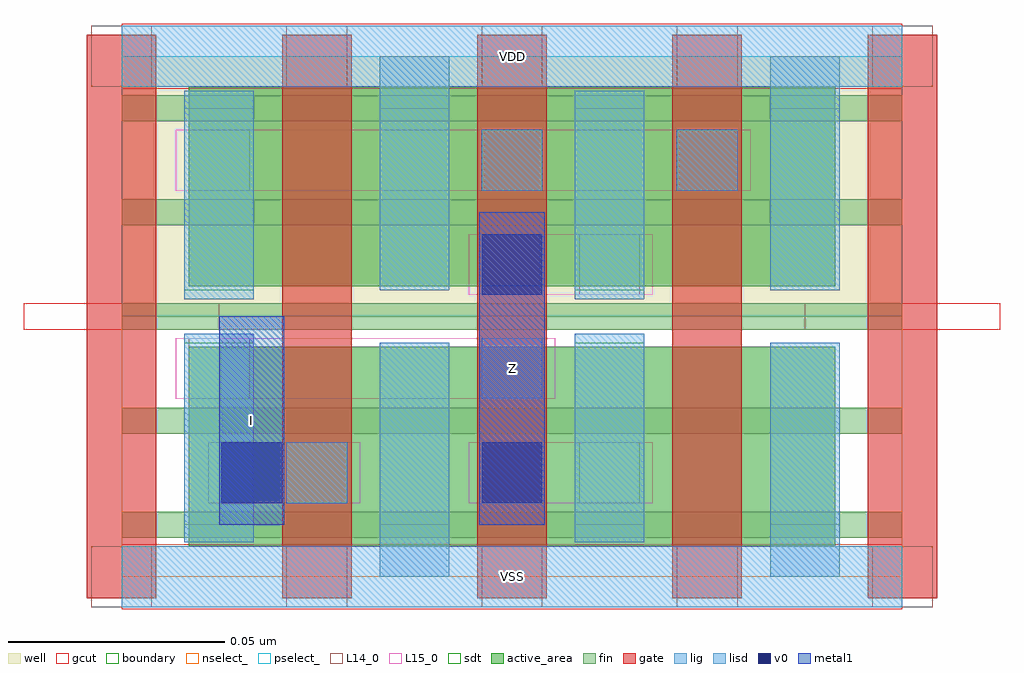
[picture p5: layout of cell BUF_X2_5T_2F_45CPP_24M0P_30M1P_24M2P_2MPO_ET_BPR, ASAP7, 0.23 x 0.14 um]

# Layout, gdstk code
import gdstk
lib = gdstk.Library(unit=1e-6, precision=2.5e-10)
def R(c, l, rs):  # rectangles x0, y0, x1, y1
    for r in rs: c.add(gdstk.rectangle(r[:2], r[2:], *l))
def A(c, l, x, y, w, h, nx, ny, dx, dy):  # array of equal rectangles
    R(c, l, [(x+i*dx, y+j*dy, x+i*dx+w, y+j*dy+h) for i in range(nx) for j in range(ny)])
well = (1, 0)
fin = (2, 0)
gate = (7, 0)
gcut = (10, 0)
active_area = (11, 0)
nselect_ = (12, 0)
pselect_ = (13, 0)
L14_0 = (14, 0)
L15_0 = (15, 0)
lig = (16, 0)
lisd = (17, 0)
v0 = (18, 0)
metal1 = (19, 0)
sdt = (88, 0)
boundary = (100, 0)

buf_x2_5t_2f_45cpp_24m0p = lib.new_cell('BUF_X2_5T_2F_45CPP_24M0P_30M1P_24M2P_2MPO_ET_BPR')
R(buf_x2_5t_2f_45cpp_24m0p, well, [(0,0.06,0.18,0.12)])
A(buf_x2_5t_2f_45cpp_24m0p, fin, 0, 0.009, 0.18, 0.006, 1, 5, 0, 0.024)
A(buf_x2_5t_2f_45cpp_24m0p, gate, -0.008, -0.005, 0.016, 0.13, 5, 1, 0.045, 0)
R(buf_x2_5t_2f_45cpp_24m0p, gcut, [(0,-0.0075,0.18,0.0075), (-0.0225,0.057,0.0225,0.063), (0.1575,0.057,0.2025,0.063), (0,0.1125,0.18,0.1275)])
R(buf_x2_5t_2f_45cpp_24m0p, active_area, [(0.0155,0.007,0.0745,0.053), (0.0605,0.007,0.1645,0.053), (0.0155,0.067,0.0745,0.113), (0.0605,0.067,0.1645,0.113)])
R(buf_x2_5t_2f_45cpp_24m0p, nselect_, [(0,0,0.18,0.06)])
R(buf_x2_5t_2f_45cpp_24m0p, pselect_, [(0,0.06,0.18,0.12)])
A(buf_x2_5t_2f_45cpp_24m0p, L14_0, -0.007, -0.007, 0.014, 0.014, 5, 2, 0.045, 0.12)
R(buf_x2_5t_2f_45cpp_24m0p, L14_0, [(0.038,0.017,0.052,0.031), (0.1055,0.017,0.1195,0.031), (0.0155,0.041,0.0295,0.055), (0.083,0.041,0.097,0.055), (0.1055,0.065,0.1195,0.079), (0.0155,0.089,0.0295,0.103), (0.083,0.089,0.097,0.103), (0.128,0.089,0.142,0.103)])
R(buf_x2_5t_2f_45cpp_24m0p, L15_0, [(0,-0.007,0.18,0.007), (0.02,0.017,0.055,0.031), (0.08,0.017,0.1225,0.031), (0.0125,0.041,0.1,0.055), (0.08,0.065,0.1225,0.079), (0.0125,0.089,0.145,0.103), (0,0.113,0.18,0.127)])
R(buf_x2_5t_2f_45cpp_24m0p, lig, [(0,-0.007,0.18,0.007), (0.038,0.017,0.052,0.031), (0.083,0.041,0.097,0.055), (0.083,0.089,0.097,0.103), (0.128,0.089,0.142,0.103), (0,0.113,0.18,0.127)])
R(buf_x2_5t_2f_45cpp_24m0p, lisd, [(0.0595,0,0.0755,0.054), (0.1495,0,0.1655,0.054), (0.0145,0.008,0.0305,0.056), (0.1045,0.008,0.1205,0.056), (0.0145,0.064,0.0305,0.112), (0.1045,0.064,0.1205,0.112), (0.0595,0.066,0.0755,0.12), (0.1495,0.066,0.1655,0.12)])
R(buf_x2_5t_2f_45cpp_24m0p, v0, [(0.023,0.017,0.037,0.031), (0.083,0.017,0.097,0.031), (0.083,0.065,0.097,0.079)])
R(buf_x2_5t_2f_45cpp_24m0p, metal1, [(0.0225,0.012,0.0375,0.06), (0.0825,0.012,0.0975,0.084)])
A(buf_x2_5t_2f_45cpp_24m0p, sdt, 0.0145, 0.012, 0.016, 0.042, 4, 2, 0.045, 0.054)
R(buf_x2_5t_2f_45cpp_24m0p, boundary, [(0,0,0.18,0.12)])
buf_x2_5t_2f_45cpp_24m0p.add(gdstk.Label('Z', (0.09,0.048), layer=19, texttype=251))
buf_x2_5t_2f_45cpp_24m0p.add(gdstk.Label('I', (0.03,0.036), layer=19, texttype=251))
buf_x2_5t_2f_45cpp_24m0p.add(gdstk.Label('VDD', (0.09,0.12), layer=15, texttype=251))
buf_x2_5t_2f_45cpp_24m0p.add(gdstk.Label('VSS', (0.09,0), layer=15, texttype=251))
buf_x2_5t_2f_45cpp_24m0p.add(gdstk.Label('VDD', (0.09,0.12), layer=1, texttype=251))
buf_x2_5t_2f_45cpp_24m0p.add(gdstk.Label('VSS', (0.09,0), layer=3, texttype=251))

lib.write_gds('BUF_X2_5T_2F_45CPP_24M0P_30M1P_24M2P_2MPO_ET_BPR.gds')
